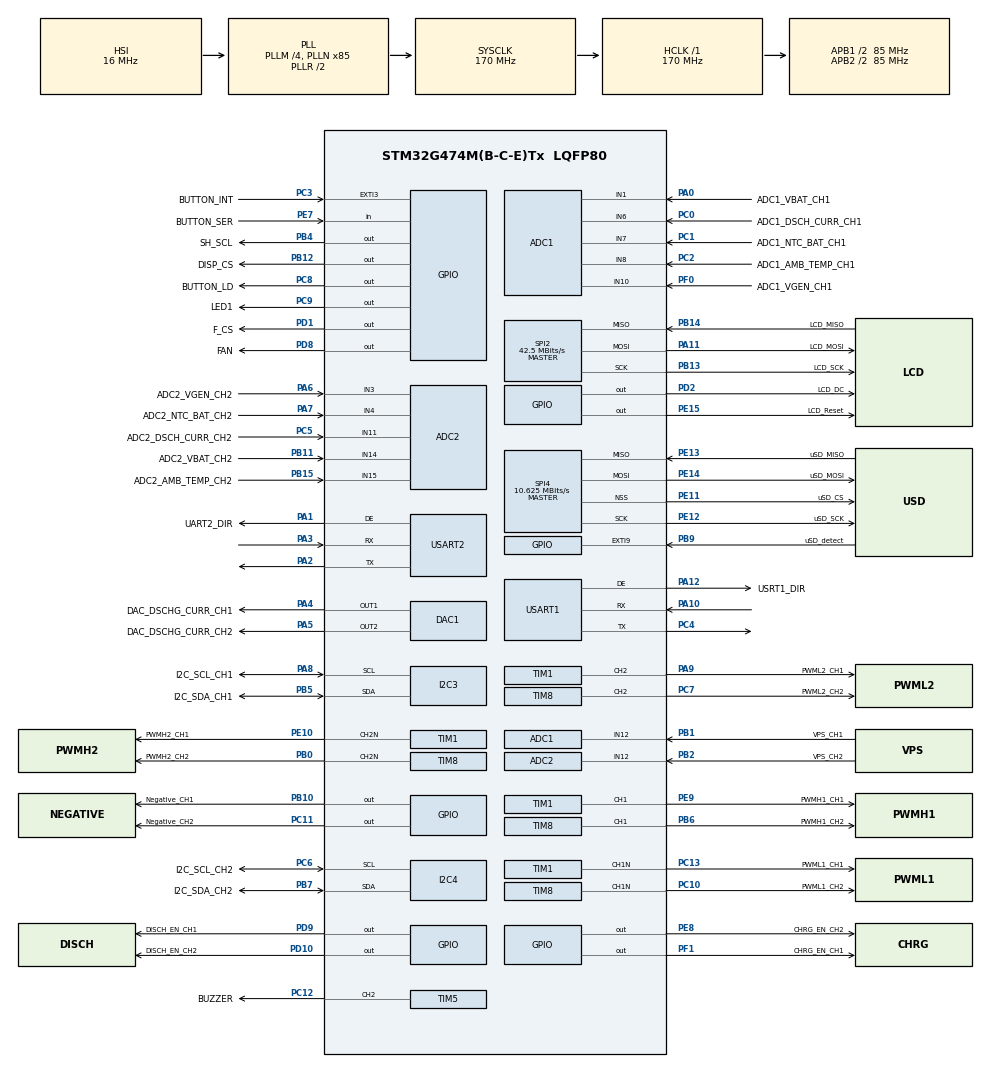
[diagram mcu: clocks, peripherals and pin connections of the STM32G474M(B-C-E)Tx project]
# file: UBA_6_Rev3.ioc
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ADC1.Channel-10\#ChannelRegularConversion=ADC_CHANNEL_1
ADC1.Channel-11\#ChannelRegularConversion=ADC_CHANNEL_1
ADC1.Channel-12\#ChannelRegularConversion=ADC_CHANNEL_8
ADC1.Channel-13\#ChannelRegularConversion=ADC_CHANNEL_7
ADC1.Channel-14\#ChannelRegularConversion=ADC_CHANNEL_6
ADC1.Channel-15\#ChannelRegularConversion=ADC_CHANNEL_12
ADC1.ClockPrescaler=ADC_CLOCK_SYNC_PCLK_DIV4
ADC1.ContinuousConvMode=ENABLE
ADC1.DMAContinuousRequests=DISABLE
ADC1.EOCSelection=ADC_EOC_SEQ_CONV
ADC1.EnableInjectedConversion=DISABLE
ADC1.EnableRegularConversion=ENABLE
ADC1.GainCompensation=0
ADC1.NbrOfConversion=6
ADC1.NbrOfConversionFlag=1
ADC1.OffsetNumber-10\#ChannelRegularConversion=ADC_OFFSET_NONE
ADC1.OffsetNumber-11\#ChannelRegularConversion=ADC_OFFSET_NONE
ADC1.OffsetNumber-12\#ChannelRegularConversion=ADC_OFFSET_NONE
ADC1.OffsetNumber-13\#ChannelRegularConversion=ADC_OFFSET_NONE
ADC1.OffsetNumber-14\#ChannelRegularConversion=ADC_OFFSET_NONE
ADC1.OffsetNumber-15\#ChannelRegularConversion=ADC_OFFSET_NONE
ADC1.Overrun=ADC_OVR_DATA_OVERWRITTEN
ADC1.OversamplingMode=DISABLE
ADC1.Rank-10\#ChannelRegularConversion=1
ADC1.Rank-11\#ChannelRegularConversion=2
ADC1.Rank-12\#ChannelRegularConversion=3
ADC1.Rank-13\#ChannelRegularConversion=4
ADC1.Rank-14\#ChannelRegularConversion=5
ADC1.Rank-15\#ChannelRegularConversion=6
ADC1.SamplingTime-10\#ChannelRegularConversion=ADC_SAMPLETIME_247CYCLES_5
ADC1.SamplingTime-11\#ChannelRegularConversion=ADC_SAMPLETIME_247CYCLES_5
ADC1.SamplingTime-12\#ChannelRegularConversion=ADC_SAMPLETIME_47CYCLES_5
ADC1.SamplingTime-13\#ChannelRegularConversion=ADC_SAMPLETIME_47CYCLES_5
ADC1.SamplingTime-14\#ChannelRegularConversion=ADC_SAMPLETIME_47CYCLES_5
ADC1.SamplingTime-15\#ChannelRegularConversion=ADC_SAMPLETIME_247CYCLES_5
ADC1.master=1
ADC2.Channel-0\#ChannelRegularConversion=ADC_CHANNEL_14
ADC2.Channel-1\#ChannelRegularConversion=ADC_CHANNEL_3
ADC2.Channel-2\#ChannelRegularConversion=ADC_CHANNEL_15
ADC2.Channel-3\#ChannelRegularConversion=ADC_CHANNEL_4
ADC2.Channel-4\#ChannelRegularConversion=ADC_CHANNEL_11
ADC2.Channel-5\#ChannelRegularConversion=ADC_CHANNEL_12
ADC2.ClockPrescaler=ADC_CLOCK_SYNC_PCLK_DIV4
ADC2.ContinuousConvMode=ENABLE
ADC2.EOCSelection=ADC_EOC_SEQ_CONV
ADC2.NbrOfConversion=6
ADC2.NbrOfConversionFlag=1
ADC2.Offset-0\#ChannelRegularConversion=100
ADC2.Offset-1\#ChannelRegularConversion=50
ADC2.OffsetNumber-0\#ChannelRegularConversion=ADC_OFFSET_NONE
ADC2.OffsetNumber-1\#ChannelRegularConversion=ADC_OFFSET_NONE
ADC2.OffsetNumber-2\#ChannelRegularConversion=ADC_OFFSET_NONE
ADC2.OffsetNumber-3\#ChannelRegularConversion=ADC_OFFSET_NONE
ADC2.OffsetNumber-4\#ChannelRegularConversion=ADC_OFFSET_NONE
ADC2.OffsetNumber-5\#ChannelRegularConversion=ADC_OFFSET_NONE
ADC2.OffsetSign-0\#ChannelRegularConversion=ADC_OFFSET_SIGN_POSITIVE
ADC2.Overrun=ADC_OVR_DATA_OVERWRITTEN
ADC2.OversamplingMode=ENABLE
ADC2.Rank-0\#ChannelRegularConversion=1
ADC2.Rank-1\#ChannelRegularConversion=2
ADC2.Rank-2\#ChannelRegularConversion=3
ADC2.Rank-3\#ChannelRegularConversion=4
ADC2.Rank-4\#ChannelRegularConversion=5
ADC2.Rank-5\#ChannelRegularConversion=6
ADC2.Ratio=ADC_OVERSAMPLING_RATIO_16
ADC2.RightBitShift=ADC_RIGHTBITSHIFT_4
ADC2.SamplingTime-0\#ChannelRegularConversion=ADC_SAMPLETIME_247CYCLES_5
ADC2.SamplingTime-1\#ChannelRegularConversion=ADC_SAMPLETIME_247CYCLES_5
ADC2.SamplingTime-2\#ChannelRegularConversion=ADC_SAMPLETIME_47CYCLES_5
ADC2.SamplingTime-3\#ChannelRegularConversion=ADC_SAMPLETIME_47CYCLES_5
ADC2.SamplingTime-4\#ChannelRegularConversion=ADC_SAMPLETIME_247CYCLES_5
ADC2.SamplingTime-5\#ChannelRegularConversion=ADC_SAMPLETIME_47CYCLES_5
DAC1.DAC_Channel-DAC_OUT2=DAC_CHANNEL_2
DAC1.DAC_OutputBuffer-DAC_OUT1=DAC_OUTPUTBUFFER_DISABLE
DAC1.DAC_OutputBuffer-DAC_OUT2=DAC_OUTPUTBUFFER_DISABLE
Dma.ADC1.0.Direction=DMA_PERIPH_TO_MEMORY
Dma.ADC1.0.EventEnable=DISABLE
Dma.ADC1.0.Instance=DMA1_Channel1
Dma.ADC1.0.MemDataAlignment=DMA_MDATAALIGN_HALFWORD
Dma.ADC1.0.MemInc=DMA_MINC_ENABLE
Dma.ADC1.0.Mode=DMA_NORMAL
Dma.ADC1.0.PeriphDataAlignment=DMA_PDATAALIGN_HALFWORD
Dma.ADC1.0.PeriphInc=DMA_PINC_DISABLE
Dma.ADC1.0.Polarity=HAL_DMAMUX_REQ_GEN_RISING
Dma.ADC1.0.Priority=DMA_PRIORITY_HIGH
Dma.ADC1.0.RequestNumber=1
Dma.ADC1.0.SignalID=NONE
Dma.ADC1.0.SyncEnable=DISABLE
Dma.ADC1.0.SyncPolarity=HAL_DMAMUX_SYNC_NO_EVENT
Dma.ADC1.0.SyncRequestNumber=1
Dma.ADC1.0.SyncSignalID=NONE
Dma.ADC2.1.Direction=DMA_PERIPH_TO_MEMORY
Dma.ADC2.1.EventEnable=DISABLE
Dma.ADC2.1.Instance=DMA1_Channel4
Dma.ADC2.1.MemDataAlignment=DMA_MDATAALIGN_HALFWORD
Dma.ADC2.1.MemInc=DMA_MINC_ENABLE
Dma.ADC2.1.Mode=DMA_NORMAL
Dma.ADC2.1.PeriphDataAlignment=DMA_PDATAALIGN_HALFWORD
Dma.ADC2.1.PeriphInc=DMA_PINC_DISABLE
Dma.ADC2.1.Polarity=HAL_DMAMUX_REQ_GEN_RISING
Dma.ADC2.1.Priority=DMA_PRIORITY_MEDIUM
Dma.ADC2.1.RequestNumber=1
Dma.ADC2.1.SignalID=NONE
Dma.ADC2.1.SyncEnable=DISABLE
Dma.ADC2.1.SyncPolarity=HAL_DMAMUX_SYNC_NO_EVENT
Dma.ADC2.1.SyncRequestNumber=1
Dma.ADC2.1.SyncSignalID=NONE
Dma.Request0=ADC1
Dma.Request1=ADC2
Dma.Request2=TIM1_CH1
Dma.Request3=TIM1_CH2
Dma.Request4=TIM8_CH1
Dma.Request5=TIM8_CH2
Dma.Request6=USART2_TX
Dma.Request7=USART1_RX
Dma.Request8=USART1_TX
Dma.TIM1_CH1.2.Direction=DMA_MEMORY_TO_PERIPH
Dma.TIM1_CH1.2.EventEnable=DISABLE
Dma.TIM1_CH1.2.Instance=DMA1_Channel3
Dma.TIM1_CH1.2.MemDataAlignment=DMA_MDATAALIGN_WORD
Dma.TIM1_CH1.2.MemInc=DMA_MINC_ENABLE
Dma.TIM1_CH1.2.Mode=DMA_CIRCULAR
Dma.TIM1_CH1.2.PeriphDataAlignment=DMA_PDATAALIGN_WORD
Dma.TIM1_CH1.2.PeriphInc=DMA_PINC_DISABLE
Dma.TIM1_CH1.2.Polarity=HAL_DMAMUX_REQ_GEN_RISING
Dma.TIM1_CH1.2.Priority=DMA_PRIORITY_HIGH
Dma.TIM1_CH1.2.RequestNumber=1
Dma.TIM1_CH1.2.SignalID=NONE
Dma.TIM1_CH1.2.SyncEnable=DISABLE
Dma.TIM1_CH1.2.SyncPolarity=HAL_DMAMUX_SYNC_NO_EVENT
Dma.TIM1_CH1.2.SyncRequestNumber=1
Dma.TIM1_CH1.2.SyncSignalID=NONE
Dma.TIM1_CH2.3.Direction=DMA_MEMORY_TO_PERIPH
Dma.TIM1_CH2.3.EventEnable=DISABLE
Dma.TIM1_CH2.3.Instance=DMA1_Channel6
Dma.TIM1_CH2.3.MemDataAlignment=DMA_MDATAALIGN_WORD
Dma.TIM1_CH2.3.MemInc=DMA_MINC_ENABLE
Dma.TIM1_CH2.3.Mode=DMA_CIRCULAR
Dma.TIM1_CH2.3.PeriphDataAlignment=DMA_PDATAALIGN_WORD
Dma.TIM1_CH2.3.PeriphInc=DMA_PINC_DISABLE
Dma.TIM1_CH2.3.Polarity=HAL_DMAMUX_REQ_GEN_RISING
Dma.TIM1_CH2.3.Priority=DMA_PRIORITY_HIGH
Dma.TIM1_CH2.3.RequestNumber=1
Dma.TIM1_CH2.3.SignalID=NONE
Dma.TIM1_CH2.3.SyncEnable=DISABLE
Dma.TIM1_CH2.3.SyncPolarity=HAL_DMAMUX_SYNC_NO_EVENT
Dma.TIM1_CH2.3.SyncRequestNumber=1
Dma.TIM1_CH2.3.SyncSignalID=NONE
Dma.TIM8_CH1.4.Direction=DMA_MEMORY_TO_PERIPH
Dma.TIM8_CH1.4.EventEnable=DISABLE
Dma.TIM8_CH1.4.Instance=DMA1_Channel2
Dma.TIM8_CH1.4.MemDataAlignment=DMA_MDATAALIGN_WORD
Dma.TIM8_CH1.4.MemInc=DMA_MINC_ENABLE
Dma.TIM8_CH1.4.Mode=DMA_CIRCULAR
Dma.TIM8_CH1.4.PeriphDataAlignment=DMA_PDATAALIGN_WORD
Dma.TIM8_CH1.4.PeriphInc=DMA_PINC_DISABLE
Dma.TIM8_CH1.4.Polarity=HAL_DMAMUX_REQ_GEN_RISING
Dma.TIM8_CH1.4.Priority=DMA_PRIORITY_HIGH
Dma.TIM8_CH1.4.RequestNumber=1
Dma.TIM8_CH1.4.SignalID=NONE
Dma.TIM8_CH1.4.SyncEnable=DISABLE
Dma.TIM8_CH1.4.SyncPolarity=HAL_DMAMUX_SYNC_NO_EVENT
Dma.TIM8_CH1.4.SyncRequestNumber=1
Dma.TIM8_CH1.4.SyncSignalID=NONE
Dma.TIM8_CH2.5.Direction=DMA_MEMORY_TO_PERIPH
Dma.TIM8_CH2.5.EventEnable=DISABLE
Dma.TIM8_CH2.5.Instance=DMA1_Channel5
Dma.TIM8_CH2.5.MemDataAlignment=DMA_MDATAALIGN_WORD
Dma.TIM8_CH2.5.MemInc=DMA_MINC_ENABLE
Dma.TIM8_CH2.5.Mode=DMA_CIRCULAR
Dma.TIM8_CH2.5.PeriphDataAlignment=DMA_PDATAALIGN_WORD
Dma.TIM8_CH2.5.PeriphInc=DMA_PINC_DISABLE
Dma.TIM8_CH2.5.Polarity=HAL_DMAMUX_REQ_GEN_RISING
Dma.TIM8_CH2.5.Priority=DMA_PRIORITY_HIGH
Dma.TIM8_CH2.5.RequestNumber=1
Dma.TIM8_CH2.5.SignalID=NONE
Dma.TIM8_CH2.5.SyncEnable=DISABLE
Dma.TIM8_CH2.5.SyncPolarity=HAL_DMAMUX_SYNC_NO_EVENT
Dma.TIM8_CH2.5.SyncRequestNumber=1
Dma.TIM8_CH2.5.SyncSignalID=NONE
Dma.USART1_RX.7.Direction=DMA_PERIPH_TO_MEMORY
Dma.USART1_RX.7.EventEnable=DISABLE
Dma.USART1_RX.7.Instance=DMA1_Channel7
Dma.USART1_RX.7.MemDataAlignment=DMA_MDATAALIGN_BYTE
Dma.USART1_RX.7.MemInc=DMA_MINC_ENABLE
Dma.USART1_RX.7.Mode=DMA_CIRCULAR
Dma.USART1_RX.7.PeriphDataAlignment=DMA_PDATAALIGN_BYTE
Dma.USART1_RX.7.PeriphInc=DMA_PINC_DISABLE
Dma.USART1_RX.7.Polarity=HAL_DMAMUX_REQ_GEN_RISING
Dma.USART1_RX.7.Priority=DMA_PRIORITY_VERY_HIGH
Dma.USART1_RX.7.RequestNumber=1
Dma.USART1_RX.7.SignalID=NONE
Dma.USART1_RX.7.SyncEnable=DISABLE
Dma.USART1_RX.7.SyncPolarity=HAL_DMAMUX_SYNC_NO_EVENT
Dma.USART1_RX.7.SyncRequestNumber=1
Dma.USART1_RX.7.SyncSignalID=NONE
Dma.USART1_TX.8.Direction=DMA_MEMORY_TO_PERIPH
Dma.USART1_TX.8.EventEnable=DISABLE
Dma.USART1_TX.8.Instance=DMA2_Channel1
Dma.USART1_TX.8.MemDataAlignment=DMA_MDATAALIGN_BYTE
Dma.USART1_TX.8.MemInc=DMA_MINC_ENABLE
Dma.USART1_TX.8.Mode=DMA_NORMAL
Dma.USART1_TX.8.PeriphDataAlignment=DMA_PDATAALIGN_BYTE
Dma.USART1_TX.8.PeriphInc=DMA_PINC_DISABLE
Dma.USART1_TX.8.Polarity=HAL_DMAMUX_REQ_GEN_RISING
Dma.USART1_TX.8.Priority=DMA_PRIORITY_LOW
Dma.USART1_TX.8.RequestNumber=1
Dma.USART1_TX.8.SignalID=NONE
Dma.USART1_TX.8.SyncEnable=DISABLE
Dma.USART1_TX.8.SyncPolarity=HAL_DMAMUX_SYNC_NO_EVENT
Dma.USART1_TX.8.SyncRequestNumber=1
Dma.USART1_TX.8.SyncSignalID=NONE
Dma.USART2_TX.6.Direction=DMA_MEMORY_TO_PERIPH
Dma.USART2_TX.6.EventEnable=DISABLE
Dma.USART2_TX.6.Instance=DMA1_Channel8
Dma.USART2_TX.6.MemDataAlignment=DMA_MDATAALIGN_BYTE
Dma.USART2_TX.6.MemInc=DMA_MINC_ENABLE
Dma.USART2_TX.6.Mode=DMA_NORMAL
Dma.USART2_TX.6.PeriphDataAlignment=DMA_PDATAALIGN_BYTE
Dma.USART2_TX.6.PeriphInc=DMA_PINC_DISABLE
Dma.USART2_TX.6.Polarity=HAL_DMAMUX_REQ_GEN_RISING
Dma.USART2_TX.6.Priority=DMA_PRIORITY_HIGH
Dma.USART2_TX.6.RequestNumber=1
Dma.USART2_TX.6.SignalID=NONE
Dma.USART2_TX.6.SyncEnable=DISABLE
Dma.USART2_TX.6.SyncPolarity=HAL_DMAMUX_SYNC_NO_EVENT
Dma.USART2_TX.6.SyncRequestNumber=1
Dma.USART2_TX.6.SyncSignalID=NONE
FATFS._CODE_PAGE=850
FATFS._FS_NORTC=0
FATFS._FS_TINY=0
FATFS._MAX_SS=512
FATFS._MIN_SS=512
FATFS._USE_LFN=1
I2C3.Timing=0x10E1A6F2
I2C4.Timing=0x10E1A6F2
Mcu.Family=STM32G4
Mcu.Name=STM32G474M(B-C-E)Tx
Mcu.Package=LQFP80
NVIC.DMA1_Channel1_IRQn=true\:1\:0\:true\:false\:true\:false\:true\:true
NVIC.DMA1_Channel2_IRQn=true\:0\:0\:false\:false\:true\:false\:true\:true
NVIC.DMA1_Channel3_IRQn=true\:0\:0\:false\:false\:true\:false\:true\:true
NVIC.DMA1_Channel4_IRQn=true\:0\:0\:false\:false\:true\:false\:true\:true
NVIC.DMA1_Channel5_IRQn=true\:0\:0\:false\:false\:true\:false\:true\:true
NVIC.DMA1_Channel6_IRQn=true\:0\:0\:false\:false\:true\:false\:true\:true
NVIC.DMA1_Channel7_IRQn=true\:0\:0\:false\:false\:true\:false\:true\:true
NVIC.DMA1_Channel8_IRQn=true\:0\:0\:false\:false\:true\:false\:true\:true
NVIC.DMA2_Channel1_IRQn=true\:0\:0\:false\:false\:true\:false\:true\:true
NVIC.EXTI3_IRQn=true\:1\:0\:true\:false\:true\:true\:true\:true
NVIC.EXTI9_5_IRQn=true\:1\:0\:true\:false\:true\:true\:true\:true
NVIC.PriorityGroup=NVIC_PRIORITYGROUP_4
NVIC.TIM1_UP_TIM16_IRQn=true\:0\:0\:false\:false\:true\:true\:true\:true
NVIC.USART1_IRQn=true\:0\:0\:false\:false\:true\:true\:true\:true
NVIC.USART2_IRQn=true\:0\:0\:false\:false\:true\:true\:true\:true
PA0.GPIO_Label=ADC1_VBAT_CH1
PA0.Mode=IN1-Single-Ended
PA0.Signal=ADC1_IN1
PA1.GPIO_Label=UART2_DIR
PA1.Mode=Hardware Flow Control (RS485)
PA1.Signal=USART2_DE
PA10.Mode=Asynchronous
PA10.Signal=USART1_RX
PA11.GPIO_Label=LCD_MOSI
PA11.GPIO_Speed=GPIO_SPEED_FREQ_VERY_HIGH
PA11.Mode=Full_Duplex_Master
PA11.Signal=SPI2_MOSI
PA12.GPIO_Label=USRT1_DIR
PA12.Mode=Hardware Flow Control (RS485)
PA12.Signal=USART1_DE
PA13.GPIO_Label=SWDIO
PA13.Mode=JTAG_4_pins
PA13.Signal=SYS_JTMS-SWDIO
PA14.GPIO_Label=SWCLK
PA14.Mode=JTAG_4_pins
PA14.Signal=SYS_JTCK-SWCLK
PA15.GPIO_Label=JTDI
PA15.Mode=JTAG_4_pins
PA15.Signal=SYS_JTDI
PA2.Mode=Asynchronous
PA2.Signal=USART2_TX
PA3.Mode=Asynchronous
PA3.Signal=USART2_RX
PA4.GPIO_Label=DAC_DSCHG_CURR_CH1
PA4.Signal=COMP_DAC11_group
PA5.GPIO_Label=DAC_DSCHG_CURR_CH2
PA5.Signal=COMP_DAC12_group
PA6.GPIO_Label=ADC2_VGEN_CH2
PA6.Mode=IN3-Single-Ended
PA6.Signal=ADC2_IN3
PA7.GPIO_Label=ADC2_NTC_BAT_CH2
PA7.Mode=IN4-Single-Ended
PA7.Signal=ADC2_IN4
PA8.GPIO_Label=I2C_SCL_CH1
PA8.Mode=I2C
PA8.Signal=I2C3_SCL
PA9.GPIO_Label=PWML2_CH1
PA9.Signal=S_TIM1_CH2
PB0.GPIO_Label=PWMH2_CH2
PB0.GPIO_ModeDefaultPP=GPIO_MODE_AF_PP
PB0.GPIO_PuPd=GPIO_NOPULL
PB0.GPIO_Speed=GPIO_SPEED_FREQ_LOW
PB0.Mode=PWM Generation2 CH2 CH2N
PB0.Signal=TIM8_CH2N
PB1.GPIO_Label=VPS_CH1
PB1.Mode=IN12-Single-Ended
PB1.Signal=ADC1_IN12
PB10.GPIO_Label=Negative_CH1
PB10.Signal=GPIO_Output
PB11.GPIO_Label=ADC2_VBAT_CH2
PB11.Mode=IN14-Single-Ended
PB11.Signal=ADC2_IN14
PB12.GPIO_Label=DISP_CS
PB12.Signal=GPIO_Output
PB13.GPIO_Label=LCD_SCK
PB13.GPIO_Speed=GPIO_SPEED_FREQ_VERY_HIGH
PB13.Mode=Full_Duplex_Master
PB13.Signal=SPI2_SCK
PB14.GPIO_Label=LCD_MISO
PB14.Mode=Full_Duplex_Master
PB14.Signal=SPI2_MISO
PB15.GPIO_Label=ADC2_AMB_TEMP_CH2
PB15.Mode=IN15-Single-Ended
PB15.Signal=ADC2_IN15
PB2.GPIO_Label=VPS_CH2
PB2.Mode=IN12-Single-Ended
PB2.Signal=ADC2_IN12
PB3.GPIO_Label=SWO
PB3.Mode=JTAG_4_pins
PB3.Signal=SYS_JTDO-SWO
PB4.GPIO_Label=SH_SCL
PB4.Signal=GPIO_Output
PB5.GPIO_Label=I2C_SDA_CH1
PB5.Mode=I2C
PB5.Signal=I2C3_SDA
PB6.GPIO_Label=PWMH1_CH2
PB6.Signal=S_TIM8_CH1
PB7.GPIO_Label=I2C_SDA_CH2
PB7.Mode=I2C
PB7.Signal=I2C4_SDA
PB9.GPIO_Label=uSD_detect
PB9.GPIO_ModeDefaultEXTI=GPIO_MODE_IT_RISING_FALLING
PB9.Signal=GPXTI9
PC0.GPIO_Label=ADC1_DSCH_CURR_CH1
PC0.Mode=IN6-Single-Ended
PC0.Signal=ADC1_IN6
PC1.GPIO_Label=ADC1_NTC_BAT_CH1
PC1.Mode=IN7-Single-Ended
PC1.Signal=ADC1_IN7
PC10.GPIO_Label=PWML1_CH2
PC10.Mode=PWM Generation1 CH1 CH1N
PC10.Signal=TIM8_CH1N
PC11.GPIO_Label=Negative_CH2
PC11.Signal=GPIO_Output
PC12.GPIO_Label=BUZZER
PC12.Signal=S_TIM5_CH2
PC13.GPIO_Label=PWML1_CH1
PC13.Mode=PWM Generation1 CH1 CH1N
PC13.Signal=TIM1_CH1N
PC14-OSC32_IN.Mode=LSE-External-Oscillator
PC14-OSC32_IN.Signal=RCC_OSC32_IN
PC15-OSC32_OUT.Mode=LSE-External-Oscillator
PC15-OSC32_OUT.Signal=RCC_OSC32_OUT
PC2.GPIO_Label=ADC1_AMB_TEMP_CH1
PC2.Mode=IN8-Single-Ended
PC2.Signal=ADC1_IN8
PC3.GPIO_Label=BUTTON_INT
PC3.GPIO_ModeDefaultEXTI=GPIO_MODE_IT_RISING_FALLING
PC3.GPIO_PuPd=GPIO_PULLUP
PC3.Signal=GPXTI3
PC4.Mode=Asynchronous
PC4.Signal=USART1_TX
PC5.GPIO_Label=ADC2_DSCH_CURR_CH2
PC5.Mode=IN11-Single-Ended
PC5.Signal=ADC2_IN11
PC6.GPIO_Label=I2C_SCL_CH2
PC6.Mode=I2C
PC6.Signal=I2C4_SCL
PC7.GPIO_Label=PWML2_CH2
PC7.GPIO_ModeDefaultPP=GPIO_MODE_AF_PP
PC7.GPIO_PuPd=GPIO_NOPULL
PC7.GPIO_Speed=GPIO_SPEED_FREQ_LOW
PC7.Signal=S_TIM8_CH2
PC8.GPIO_Label=BUTTON_LD
PC8.Signal=GPIO_Output
PC9.GPIO_Label=LED1
PC9.PinState=GPIO_PIN_SET
PC9.Signal=GPIO_Output
PD1.GPIO_Label=F_CS
PD1.Signal=GPIO_Output
PD10.GPIO_Label=DISCH_EN_CH2
PD10.Signal=GPIO_Output
PD2.GPIO_Label=LCD_DC
PD2.GPIO_Speed=GPIO_SPEED_FREQ_VERY_HIGH
PD2.PinState=GPIO_PIN_RESET
PD2.Signal=GPIO_Output
PD8.GPIO_Label=FAN
PD8.Signal=GPIO_Output
PD9.GPIO_Label=DISCH_EN_CH1
PD9.Signal=GPIO_Output
PE10.GPIO_Label=PWMH2_CH1
PE10.Mode=PWM Generation2 CH2 CH2N
PE10.Signal=TIM1_CH2N
PE11.GPIO_Label=uSD_CS
PE11.GPIO_PuPd=GPIO_NOPULL
PE11.GPIO_Speed=GPIO_SPEED_FREQ_HIGH
PE11.Mode=NSS_Signal_Hard_Output
PE11.Signal=SPI4_NSS
PE12.GPIO_Label=uSD_SCK
PE12.GPIO_Speed=GPIO_SPEED_FREQ_VERY_HIGH
PE12.Mode=Full_Duplex_Master
PE12.Signal=SPI4_SCK
PE13.GPIO_Label=uSD_MISO
PE13.GPIO_Speed=GPIO_SPEED_FREQ_VERY_HIGH
PE13.Mode=Full_Duplex_Master
PE13.Signal=SPI4_MISO
PE14.GPIO_Label=uSD_MOSI
PE14.GPIO_Speed=GPIO_SPEED_FREQ_VERY_HIGH
PE14.Mode=Full_Duplex_Master
PE14.Signal=SPI4_MOSI
PE15.GPIO_Label=LCD_Reset
PE15.GPIO_Speed=GPIO_SPEED_FREQ_VERY_HIGH
PE15.Signal=GPIO_Output
PE7.GPIO_Label=BUTTON_SER
PE7.Signal=GPIO_Input
PE8.GPIO_Label=CHRG_EN_CH2
PE8.Signal=GPIO_Output
PE9.GPIO_Label=PWMH1_CH1
PE9.Signal=S_TIM1_CH1
PF0-OSC_IN.GPIO_Label=ADC1_VGEN_CH1
PF0-OSC_IN.Mode=IN10-Single-Ended
PF0-OSC_IN.Signal=ADC1_IN10
PF1-OSC_OUT.GPIO_Label=CHRG_EN_CH1
PF1-OSC_OUT.Signal=GPIO_Output
ProjectManager.HeapSize=0x200
ProjectManager.StackSize=0x400
ProjectManager.TargetToolchain=STM32CubeIDE
RCC.ADC12Freq_Value=170000000
RCC.ADC345Freq_Value=170000000
RCC.AHBFreq_Value=170000000
RCC.APB1CLKDivider=RCC_HCLK_DIV2
RCC.APB1Freq_Value=85000000
RCC.APB1TimFreq_Value=170000000
RCC.APB2CLKDivider=RCC_HCLK_DIV2
RCC.APB2Freq_Value=85000000
RCC.APB2TimFreq_Value=170000000
RCC.CortexFreq_Value=170000000
RCC.EXTERNAL_CLOCK_VALUE=12288000
RCC.HCLKFreq_Value=170000000
RCC.HSE_VALUE=8000000
RCC.HSI48_VALUE=48000000
RCC.HSI_VALUE=16000000
RCC.PLLM=RCC_PLLM_DIV4
RCC.PLLN=85
RCC.RTCClockSelection=RCC_RTCCLKSOURCE_LSE
RCC.SYSCLKFreq_VALUE=170000000
RCC.SYSCLKSource=RCC_SYSCLKSOURCE_PLLCLK
RCC.USART1CLockSelection=RCC_USART1CLKSOURCE_SYSCLK
RCC.USBFreq_Value=170000000
RCC.VCOOutputFreq_Value=340000000
SH.COMP_DAC11_group.0=DAC1_OUT1,DAC_OUT1
SH.COMP_DAC12_group.0=DAC1_OUT2,DAC_OUT2
SH.S_TIM1_CH1.0=TIM1_CH1,PWM Generation1 CH1 CH1N
SH.S_TIM1_CH2.0=TIM1_CH2,PWM Generation2 CH2 CH2N
SH.S_TIM5_CH2.0=TIM5_CH2,PWM Generation2 CH2
SH.S_TIM8_CH1.0=TIM8_CH1,PWM Generation1 CH1 CH1N
SH.S_TIM8_CH2.0=TIM8_CH2,PWM Generation2 CH2 CH2N
SPI2.CLKPhase=SPI_PHASE_2EDGE
SPI2.CLKPolarity=SPI_POLARITY_HIGH
SPI2.CalculateBaudRate=42.5 MBits/s
SPI2.DataSize=SPI_DATASIZE_8BIT
SPI2.Direction=SPI_DIRECTION_2LINES
SPI2.Mode=SPI_MODE_MASTER
SPI2.VirtualType=VM_MASTER
SPI4.BaudRatePrescaler=SPI_BAUDRATEPRESCALER_8
SPI4.CalculateBaudRate=10.625 MBits/s
SPI4.DataSize=SPI_DATASIZE_8BIT
SPI4.Direction=SPI_DIRECTION_2LINES
SPI4.Mode=SPI_MODE_MASTER
SPI4.VirtualNSS=VM_NSSHARD
SPI4.VirtualType=VM_MASTER
SYS.PVDLevel=PWR_PVDLEVEL_6
TIM1.Channel-PWM\ Generation1\ CH1\ CH1N=TIM_CHANNEL_1
TIM1.Channel-PWM\ Generation2\ CH2\ CH2N=TIM_CHANNEL_2
TIM1.ClockDivision=TIM_CLOCKDIVISION_DIV4
TIM1.CounterMode=TIM_COUNTERMODE_CENTERALIGNED1
TIM1.DeadTime=6
TIM1.DeadTimePreload=ENABLE
TIM1.OCFastMode_PWM-PWM\ Generation1\ CH1\ CH1N=TIM_OCFAST_ENABLE
TIM1.OCFastMode_PWM-PWM\ Generation2\ CH2\ CH2N=TIM_OCFAST_ENABLE
TIM1.OCNPolarity_1=TIM_OCNPOLARITY_HIGH
TIM1.OCNPolarity_2=TIM_OCNPOLARITY_HIGH
TIM1.OCPolarity_1=TIM_OCPOLARITY_HIGH
TIM1.OCPolarity_2=TIM_OCPOLARITY_HIGH
TIM1.PeriodNoDither=0x1FF
TIM1.PulseNoDither_1=32
TIM1.PulseNoDither_2=32
TIM1.RepetitionCounter=32
TIM5.AutoReloadPreload=TIM_AUTORELOAD_PRELOAD_ENABLE
TIM5.Channel-PWM\ Generation2\ CH2=TIM_CHANNEL_2
TIM5.PeriodNoDither=1000
TIM5.Prescaler=160
TIM8.BreakState=TIM_BREAK_DISABLE
TIM8.Channel-PWM\ Generation1\ CH1\ CH1N=TIM_CHANNEL_1
TIM8.Channel-PWM\ Generation2\ CH2\ CH2N=TIM_CHANNEL_2
TIM8.ClockDivision=TIM_CLOCKDIVISION_DIV4
TIM8.CounterMode=TIM_COUNTERMODE_CENTERALIGNED1
TIM8.DeadTime=6
TIM8.DeadTimePreload=ENABLE
TIM8.OCFastMode_PWM-PWM\ Generation1\ CH1\ CH1N=TIM_OCFAST_ENABLE
TIM8.OCFastMode_PWM-PWM\ Generation2\ CH2\ CH2N=TIM_OCFAST_ENABLE
TIM8.OCNPolarity_1=TIM_OCNPOLARITY_HIGH
TIM8.OCNPolarity_2=TIM_OCNPOLARITY_HIGH
TIM8.OCPolarity_1=TIM_OCPOLARITY_HIGH
TIM8.PeriodNoDither=0x1FF
TIM8.PulseNoDither_1=32
TIM8.PulseNoDither_2=32
TIM8.RepetitionCounter=32
USART1.VirtualMode-Asynchronous=VM_ASYNC
USART1.VirtualMode-Half_duplex(single_wire_mode)=VM_ASYNC
USART1.VirtualMode-Hardware\ Flow\ Control\ (RS485)=VM_ASYNC
USART1.VirtualMode-IrDA=VM_IRDA
USART1.VirtualMode-LIN=VM_LIN
USART1.VirtualMode-SmartCard=VM_SMARTCARD
USART2.SwapParam=ADVFEATURE_SWAP_DISABLE
USART2.VirtualMode-Asynchronous=VM_ASYNC
USART2.VirtualMode-Hardware\ Flow\ Control\ (RS485)=VM_ASYNC
VP_FATFS_VS_Generic.Mode=User_defined
VP_RCC_VS_LSE.Mode=CRS SYNC Source LSE
VP_RTC_VS_RTC_Activate.Mode=RTC_Enabled
VP_RTC_VS_RTC_Calendar.Mode=RTC_Calendar
VP_SYS_VS_DBSignals.Mode=DisableDeadBatterySignals
VP_SYS_V_PVD_IN.Mode=Mode_PVD_Int
VP_SYS_V_VREFBUF.Mode=ExternalMode
VP_TIM1_VS_ClockSourceINT.Mode=Internal
VP_TIM5_VS_ClockSourceINT.Mode=Internal
VP_TIM8_VS_ClockSourceINT.Mode=Internal
board=custom

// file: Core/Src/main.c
/* USER CODE BEGIN Header */
/**
  ******************************************************************************
  * @file           : main.c
  * @brief          : Main program body
  ******************************************************************************
  * @attention
  *
  * Copyright (c) 2026 STMicroelectronics.
  * All rights reserved.
  *
  * This software is licensed under terms that can be found in the LICENSE file
  * in the root directory of this software component.
  * If no LICENSE file comes with this software, it is provided AS-IS.
  *
  ******************************************************************************
  */
/* USER CODE END Header */
#include "main.h"
#include "adc.h"
#include "dac.h"
#include "dma.h"
#include "app_fatfs.h"
#include "i2c.h"
#include "rtc.h"
#include "spi.h"
#include "tim.h"
#include "usart.h"
#include "gpio.h"

/* USER CODE BEGIN Includes */
#include "UBA_6.h"
#include "uart_log.h"
#include "IRQ_handle.h"
#include "file_logger.h"
#include "ST7789_STM32_Driver.h"
#include "LCD.h"
#include "UBA_battery_performance_test.h"
#include "UBA_line.h"
#include "UBA_channel.h"
#include "UBA_test_routine.h"
#include "UBA_button.h"
#include "UBA_buzzer.h"
#include "UBA_DC_DC_converter.h"
#include "UBA_command.h"
#include "UBA_UART_comm.h"
#include "UBA_util.h"
#include "PLI74HC166.h"
/* USER CODE END Includes */

/* USER CODE BEGIN PTD */
#define MAJOR 0
#define MINOR 1

const uint8_t BL_Version[2] = { MAJOR, MINOR };
static FATFS fs;
/* USER CODE END PTD */

/* USER CODE BEGIN PD */
#define UBA_COMP "MAIN"
/* USER CODE END PD */

void SystemClock_Config(void);

int main(void)
{

  /* MCU Configuration--------------------------------------------------------*/

  /* Reset of all peripherals, Initializes the Flash interface and the Systick. */
  HAL_Init();

  /* Configure the system clock */
  SystemClock_Config();

  /* Initialize all configured peripherals */
  MX_GPIO_Init();
  MX_DMA_Init();
  MX_ADC1_Init();
  MX_ADC2_Init();
  MX_DAC1_Init();
  MX_I2C3_Init();
  MX_I2C4_Init();
  MX_SPI2_Init();
  MX_SPI4_Init();
  if (MX_FATFS_Init() != APP_OK) {
    Error_Handler();
  }
  MX_USART2_UART_Init();
  MX_TIM1_Init();
  MX_USART1_UART_Init();
  MX_TIM8_Init();
  MX_RTC_Init();
  MX_TIM5_Init();
  HAL_Delay(10);

  /* USER CODE BEGIN 2 */
  //	uart_printf("Starting UBA6 {d.%d}\n", BL_Version[0], BL_Version[1]);
	//HAL_TIM_PWM_Start(&htim4,TIM_CHANNEL_2);
	//UART_LOG_INFO(UBA_COMP, "System Init - %s", get_RTC_date_time_str());
	//test_print();

	HAL_GPIO_WritePin(FAN_GPIO_Port, FAN_Pin, GPIO_PIN_RESET);
	UBA_line_init_local_lines();
	HAL_Delay(10);

  UBA_TR_demo_init();
	file_logger_print();
	PLI74HC166_init(&buttons_driver_g);
  LCD_start();
	HAL_Delay(200);

	UBA_UART_comm_init();
	HAL_Delay(10);

  /* USER CODE END 2 */

  /* Infinite loop */
  /* USER CODE BEGIN WHILE */

 //refresh LCD (periodically)
#undef LCD_REFRESH

#ifdef LCD_REFRESH
#define LCD_REFRESH_DELAY  (30 *60 * 1000) /*30 min*/
uint32_t lcd_refresh_last_time = 0;
#endif/*LCD_REFRESH*/

  int cycle1, cycle2, cycle3, cycle4, cycle5 = 0;
	while (1) {
	    if ((cycle1++ % 1) == 0) {
		    UBA_UART_comm_run();
        cycle1 = 0;
      }
      if ((cycle4++ %1) == 0) {
		    LCD_run(&UBA_LCD_g);
		    UBA_buzzer_run(&buzzer_g);
        cycle4 = 0;
      }
      if ((cycle2++ %1) == 0) {
		    UBA_6_run(&UBA_6_device_g);
        cycle2 = 0;
      }
      if ((cycle3++ %1) == 0) {
		    UBA_line_run(&UBA_LINE_A);
		    UBA_line_run(&UBA_LINE_B);
        cycle3 = 0;
      }
      //save log file
      if ((cycle5++ %3) == 0) {
		    UBA_BPT_save_log(&UBA_6_device_g.BPT_A);
		    UBA_BPT_save_log(&UBA_6_device_g.BPT_B);
        cycle5 = 0;
      }
      //HAL_Delay(10);
    /* USER CODE END WHILE */

    /* USER CODE BEGIN 3 */
			//refresh LCD - upon 3 consecutive button press
#ifdef LCD_REFRESH
			uint32_t sample_time = HAL_GetTick();
			if ((sample_time - lcd_refresh_last_time) > LCD_REFRESH_DELAY)
			{
					LCD_refresh(&UBA_LCD_g);
          lcd_refresh_last_time = sample_time;
			}
#endif/*LCD_REFRESH*/
  }
  /* USER CODE END 3 */
}

void peripheralsInit()
{
  /* Initialize all configured peripherals */
//  MX_GPIO_Init();
  MX_DMA_Init();
  MX_ADC1_Init();
  MX_ADC2_Init();
  MX_DAC1_Init();
//  MX_I2C3_Init();
//  MX_I2C4_Init();
//  MX_SPI2_Init();
//  MX_SPI4_Init();
//  if (MX_FATFS_Init() != APP_OK) {
//    Error_Handler();
//  }
//  MX_USART2_UART_Init();
//  MX_TIM1_Init();
//  MX_USART1_UART_Init();
//  MX_TIM8_Init();
//  MX_RTC_Init();
//  MX_TIM5_Init();
}

void SystemClock_Config(void)
{
  RCC_OscInitTypeDef RCC_OscInitStruct = {0};
  RCC_ClkInitTypeDef RCC_ClkInitStruct = {0};
  RCC_CRSInitTypeDef pInit = {0};

  /** Configure the main internal regulator output voltage
  */
  HAL_PWREx_ControlVoltageScaling(PWR_REGULATOR_VOLTAGE_SCALE1_BOOST);

  /** Configure LSE Drive Capability
  */
  HAL_PWR_EnableBkUpAccess();
  __HAL_RCC_LSEDRIVE_CONFIG(RCC_LSEDRIVE_LOW);

  /** Initializes the RCC Oscillators according to the specified parameters
  * in the RCC_OscInitTypeDef structure.
  */
  RCC_OscInitStruct.OscillatorType = RCC_OSCILLATORTYPE_HSI|RCC_OSCILLATORTYPE_LSE;
  RCC_OscInitStruct.LSEState = RCC_LSE_ON;
  RCC_OscInitStruct.HSIState = RCC_HSI_ON;
  RCC_OscInitStruct.HSICalibrationValue = RCC_HSICALIBRATION_DEFAULT;
  RCC_OscInitStruct.PLL.PLLState = RCC_PLL_ON;
  RCC_OscInitStruct.PLL.PLLSource = RCC_PLLSOURCE_HSI;
  RCC_OscInitStruct.PLL.PLLM = RCC_PLLM_DIV4;
  RCC_OscInitStruct.PLL.PLLN = 85;
  RCC_OscInitStruct.PLL.PLLP = RCC_PLLP_DIV2;
  RCC_OscInitStruct.PLL.PLLQ = RCC_PLLQ_DIV2;
  RCC_OscInitStruct.PLL.PLLR = RCC_PLLR_DIV2;
  if (HAL_RCC_OscConfig(&RCC_OscInitStruct) != HAL_OK)
  {
    Error_Handler();
  }

  /** Initializes the CPU, AHB and APB buses clocks
  */
  RCC_ClkInitStruct.ClockType = RCC_CLOCKTYPE_HCLK|RCC_CLOCKTYPE_SYSCLK
                              |RCC_CLOCKTYPE_PCLK1|RCC_CLOCKTYPE_PCLK2;
  RCC_ClkInitStruct.SYSCLKSource = RCC_SYSCLKSOURCE_PLLCLK;
  RCC_ClkInitStruct.AHBCLKDivider = RCC_SYSCLK_DIV1;
  RCC_ClkInitStruct.APB1CLKDivider = RCC_HCLK_DIV2;
  RCC_ClkInitStruct.APB2CLKDivider = RCC_HCLK_DIV2;

  if (HAL_RCC_ClockConfig(&RCC_ClkInitStruct, FLASH_LATENCY_4) != HAL_OK)
  {
    Error_Handler();
  }

  /** Enable the SYSCFG APB clock
  */
  __HAL_RCC_CRS_CLK_ENABLE();

  /** Configures CRS
  */
  pInit.Prescaler = RCC_CRS_SYNC_DIV1;
  pInit.Source = RCC_CRS_SYNC_SOURCE_LSE;
  pInit.Polarity = RCC_CRS_SYNC_POLARITY_RISING;
  pInit.ReloadValue = __HAL_RCC_CRS_RELOADVALUE_CALCULATE(48000000,32768);
  pInit.ErrorLimitValue = 34;
  pInit.HSI48CalibrationValue = 32;

  HAL_RCCEx_CRSConfig(&pInit);
}

void Error_Handler(void)
{
  /* USER CODE BEGIN Error_Handler_Debug */

	UART_LOG_CRITICAL(UBA_COMP, "Enter Error Handler, IRQ will be Disable");
  /* User can add his own implementation to report the HAL error return state */
  __disable_irq();
  while (1)
  {
  }
  /* USER CODE END Error_Handler_Debug */
}
